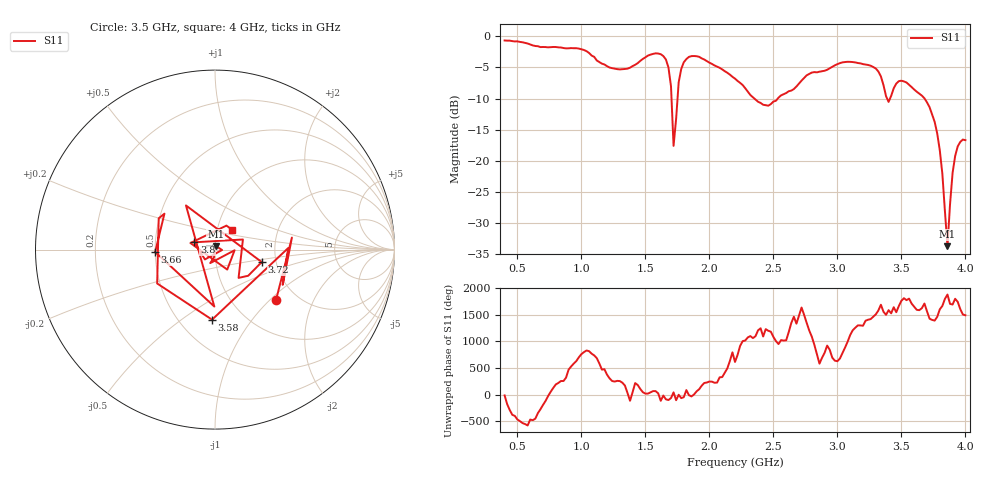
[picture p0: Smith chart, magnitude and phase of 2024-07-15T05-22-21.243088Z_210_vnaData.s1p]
!Created with skrf (http://scikit-rf.org).
# Hz S RI R 50.0
!freq ReS11 ImS11
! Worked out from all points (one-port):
!   181 points, 400 MHz to 4 GHz, reference 50 ohm
!   lowest |S11| = -33.7 dB at 3.86 GHz (marker M1), VSWR 1.04, Z = 50.4 + j2.03 ohm
!   |S11| at or under -10 dB: 1.704 GHz to 1.751 GHz (47.03 MHz wide, 2.72 % of centre); 2.351 GHz to 2.534 GHz (183.6 MHz wide, 7.52 % of centre); 3.681 GHz to end of sweep (the widest 3 of 4)
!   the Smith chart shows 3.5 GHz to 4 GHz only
!   S11 on the Smith chart (normalised r, x): 3.5 GHz: 1.58, -1.09; 3.58 GHz: 0.71, -0.66; 3.66 GHz: 0.50, -0.01; 3.72 GHz: 1.68, -0.25; 3.8 GHz: 0.79, +0.07; 4 GHz: 1.18, +0.27
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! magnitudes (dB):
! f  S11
! 400 MHz  -0.7
! 860 MHz  -1.9
! 1.3 GHz  -5.3
! 1.58 GHz  -2.7
! 1.66 GHz  -3.7
! 1.7 GHz  -8.0
! 1.72 GHz  -17.6
! 1.76 GHz  -7.4
! 1.8 GHz  -4.2
! 1.86 GHz  -3.2
! 2.2 GHz  -6.8
! 2.42 GHz  -11.0
! 2.66 GHz  -8.5
! 2.8 GHz  -5.8
! 3.1 GHz  -4.1
! 3.3 GHz  -5.2
! 3.4 GHz  -10.5
! 3.5 GHz  -7.1
! 3.56 GHz  -7.8
! 3.58 GHz  -8.2
! 3.66 GHz  -9.5
! 3.72 GHz  -11.4
! 3.8 GHz  -18.3
! 3.82 GHz  -22.1
! 3.86 GHz  -33.7
! 3.9 GHz  -21.9
! 3.92 GHz  -19.2
! 4 GHz  -16.7
